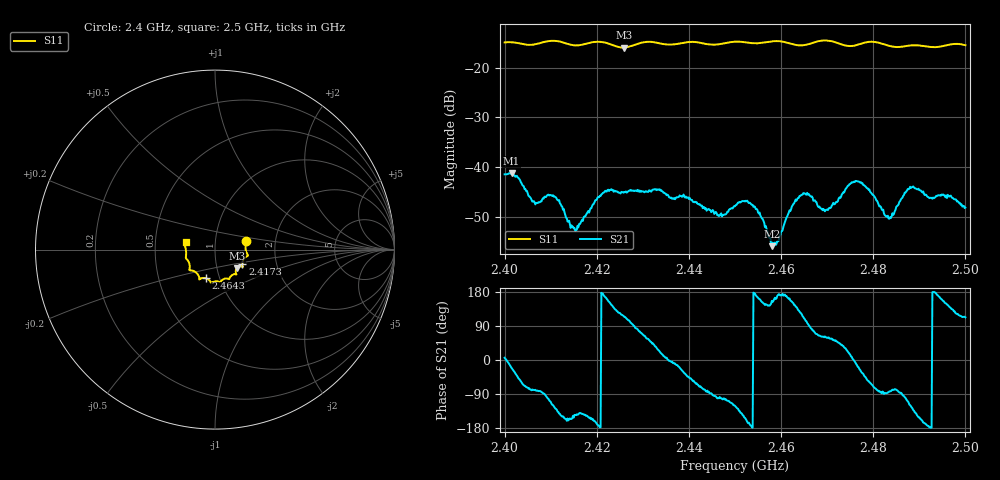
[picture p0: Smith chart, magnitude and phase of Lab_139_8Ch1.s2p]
# Hz S RI R 50
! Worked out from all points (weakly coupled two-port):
!   601 points, 2.4 GHz to 2.5 GHz, reference 50 ohm
!   highest |S21| = -41.20 dB at 2.4015 GHz (marker M1); lowest = -55.9 dB at 2.458 GHz (marker M2)
!   lowest |S11| = -15.9 dB at 2.4258 GHz (marker M3), VSWR 1.38, Z = 62.3 - j13.2 ohm
!   |S11| at or under -10 dB: start of sweep to end of sweep
!   S12 and S22 are empty: the file has one direction only
!   S11 on the Smith chart (normalised r, x): 2.4 GHz: 1.41, +0.14; 2.4173 GHz: 1.34, -0.23; 2.4643 GHz: 0.86, -0.28; 2.5 GHz: 0.72, +0.06
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2.4e9  0.173 0.0497  0.00842 0.000849  0 0  0 0
2.4015e9  0.1754 0.0438  0.00814 -0.00309  0 0  0 0
2.406333e9  0.1713 -0.00293  0.000858 -0.00446  0 0  0 0
2.4105e9  0.184 -0.0333  -0.00253 -0.00456  0 0  0 0
2.414833e9  0.16 -0.054  -0.00212 -0.00136  0 0  0 0
2.416667e9  0.153 -0.0747  -0.00224 -0.00175  0 0  0 0
2.417333e9  0.1524 -0.082  -0.0026 -0.00183  0 0  0 0
2.4215e9  0.1533 -0.0954  -0.00546 0.000939  0 0  0 0
2.425833e9  0.1215 -0.1035  -0.00243 0.00497  0 0  0 0
2.433333e9  0.113 -0.1369  0.00532 0.00266  0 0  0 0
2.446667e9  0.0425 -0.1678  -0.000427 -0.00322  0 0  0 0
2.45e9  0.0298 -0.1807  -0.00209 -0.00346  0 0  0 0
2.454333e9  0.00753 -0.1762  -0.00398 0.000312  0 0  0 0
2.458e9  -0.0186 -0.1834  -0.00146 0.000651  0 0  0 0
2.459333e9  -0.0224 -0.184  -0.00177 0.000259  0 0  0 0
2.464333e9  -0.0504 -0.1603  -0.00287 0.00435  0 0  0 0
2.466667e9  -0.0761 -0.1596  0.000734 0.00503  0 0  0 0
2.469833e9  -0.0877 -0.1667  0.00187 0.00321  0 0  0 0
2.476833e9  -0.1253 -0.1171  0.00676 -0.00238  0 0  0 0
2.483333e9  -0.1408 -0.0895  0.000265 -0.00303  0 0  0 0
2.488333e9  -0.1609 -0.0492  -0.00353 -0.00517  0 0  0 0
2.5e9  -0.1634 0.0423  -0.00151 0.00361  0 0  0 0
